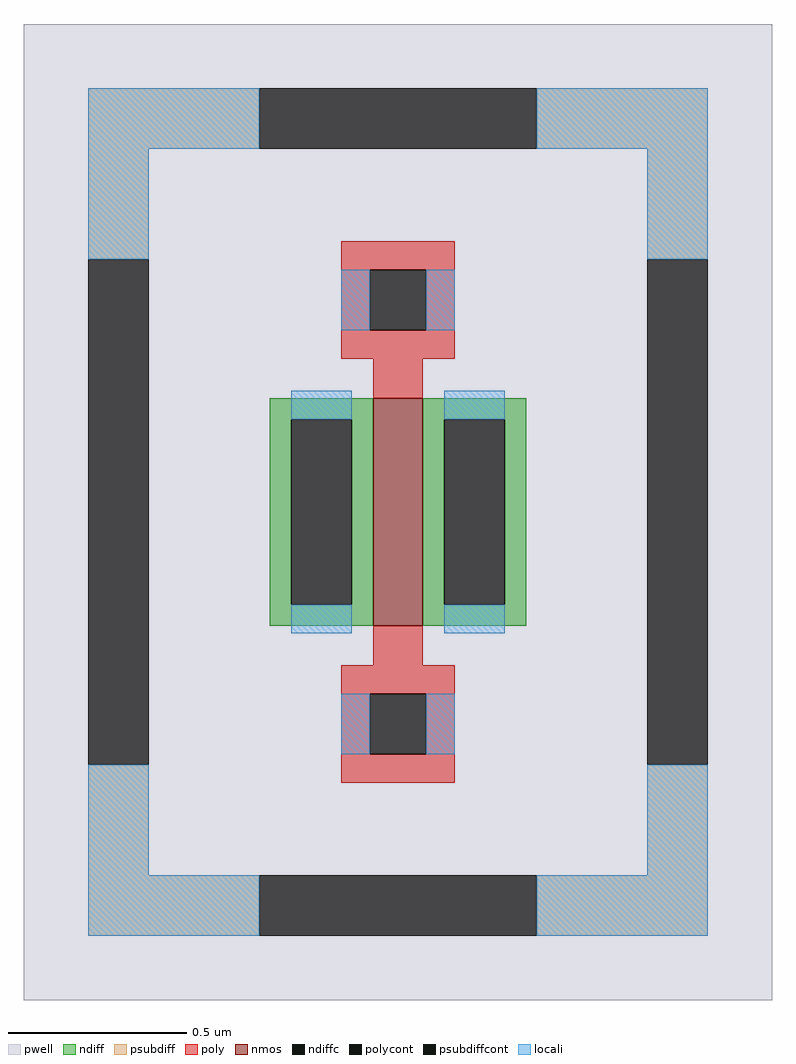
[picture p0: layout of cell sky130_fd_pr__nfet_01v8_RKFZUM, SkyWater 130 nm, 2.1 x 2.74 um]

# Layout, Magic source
magic
tech sky130A
<< pwell >>
rect -105 -137 105 137
<< nmos >>
rect -7 -32 7 32
<< ndiff >>
rect -36 26 -7 32
rect -36 -26 -30 26
rect -13 -26 -7 26
rect -36 -32 -7 -26
rect 7 26 36 32
rect 7 -26 13 26
rect 30 -26 36 26
rect 7 -32 36 -26
<< ndiffc >>
rect -30 -26 -13 26
rect 13 -26 30 26
<< psubdiff >>
rect -87 102 -39 119
rect 39 102 87 119
rect -87 71 -70 102
rect 70 71 87 102
rect -87 -102 -70 -71
rect 70 -102 87 -71
rect -87 -119 -39 -102
rect 39 -119 87 -102
<< psubdiffcont >>
rect -39 102 39 119
rect -87 -71 -70 71
rect 70 -71 87 71
rect -39 -119 39 -102
<< poly >>
rect -16 68 16 76
rect -16 51 -8 68
rect 8 51 16 68
rect -16 43 16 51
rect -7 32 7 43
rect -7 -43 7 -32
rect -16 -51 16 -43
rect -16 -68 -8 -51
rect 8 -68 16 -51
rect -16 -76 16 -68
<< polycont >>
rect -8 51 8 68
rect -8 -68 8 -51
<< locali >>
rect -87 102 -39 119
rect 39 102 87 119
rect -87 71 -70 102
rect 70 71 87 102
rect -16 51 -8 68
rect 8 51 16 68
rect -30 26 -13 34
rect -30 -34 -13 -26
rect 13 26 30 34
rect 13 -34 30 -26
rect -16 -68 -8 -51
rect 8 -68 16 -51
rect -87 -102 -70 -71
rect 70 -102 87 -71
rect -87 -119 -39 -102
rect 39 -119 87 -102
<< properties >>
string gencell sky130_fd_pr__nfet_01v8
string FIXED_BBOX -79 -111 79 111
string parameters w 0.65 l 0.15 m 1 nf 1 diffcov 100 polycov 100 guard 1 glc 1 grc 1 gtc 1 gbc 1 tbcov 100 rlcov 100 topc 1 botc 1 poverlap 0 doverlap 1 lmin 0.15 wmin 0.42 compatible {sky130_fd_pr__nfet_01v8 sky130_fd_pr__nfet_01v8_lvt  sky130_fd_bs_flash__special_sonosfet_star  sky130_fd_pr__nfet_g5v0d10v5 sky130_fd_pr__nfet_05v0_nvt} full_metal 1
string library sky130
<< end >>
